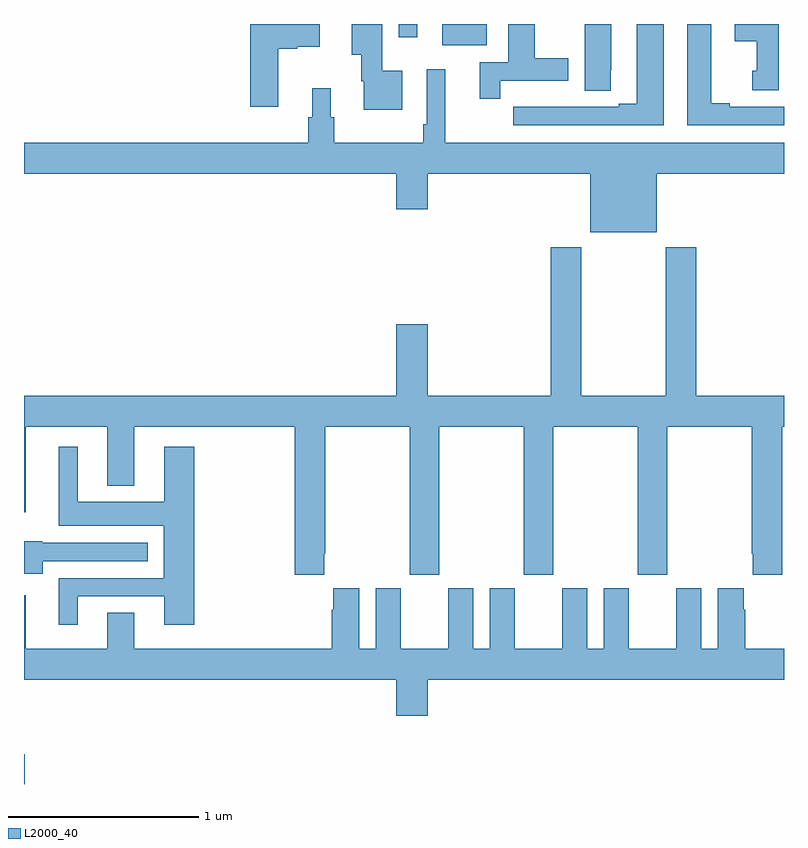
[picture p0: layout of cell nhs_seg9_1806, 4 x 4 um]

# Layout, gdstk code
import gdstk
lib = gdstk.Library(unit=1e-6, precision=1e-09)
def R(c, l, rs):  # rectangles x0, y0, x1, y1
    for r in rs: c.add(gdstk.rectangle(r[:2], r[2:], *l))
def P(c, l, *ps):  # polygons
    for p in ps: c.add(gdstk.Polygon(p, *l))
L2000_40 = (2000, 40)

nhs_seg9_1806 = lib.new_cell('nhs_seg9_1806')
R(nhs_seg9_1806, L2000_40, [(211,1234.5,211.003,1234.656), (213.2,1238.387,213.436,1238.5), (212.973,1238.43,213.07,1238.5)])
P(nhs_seg9_1806, L2000_40, [(215,1238.064),(214.714,1238.064),(214.714,1238.084),(214.618,1238.084),(214.618,1238.5),(214.49,1238.5),(214.49,1237.968),(215,1237.968)],
  [(214.366,1238.5),(214.226,1238.5),(214.226,1238.079),(214.13,1238.079),(214.13,1238.064),(213.854,1238.064),(213.854,1238.065),(213.688,1238.065),(213.688,1238.064),(213.576,1238.064),(213.576,1237.968),(214.366,1237.968)],
  [(213.506,1238.202),(213.865,1238.202),(213.865,1238.319),(213.688,1238.319),(213.688,1238.5),(213.548,1238.5),(213.548,1238.298),(213.398,1238.298),(213.398,1238.106),(213.506,1238.106)],
  [(214.089,1238.257),(214.09,1238.257),(214.09,1238.5),(213.95,1238.5),(213.95,1238.149),(214.089,1238.149)],
  [(214.972,1238.5),(214.742,1238.5),(214.742,1238.408),(214.856,1238.408),(214.856,1238.253),(214.832,1238.253),(214.832,1238.151),(214.972,1238.151)],
  [(212.992,1238.254),(212.886,1238.254),(212.886,1238.5),(212.726,1238.5),(212.726,1238.339),(212.775,1238.339),(212.775,1238.198),(212.787,1238.198),(212.787,1238.048),(212.992,1238.048)],
  [(212.338,1238.369),(212.439,1238.369),(212.439,1238.381),(212.557,1238.381),(212.557,1238.5),(212.192,1238.5),(212.192,1238.064),(212.338,1238.064)],
  [(214.33,1237.712),(215,1237.712),(215,1237.876),(213.218,1237.876),(213.218,1238.263),(213.12,1238.263),(213.12,1237.972),(213.1,1237.972),(213.1,1237.876),(212.633,1237.876),(212.633,1238.01),(212.614,1238.01),(212.614,1238.161),(212.516,1238.161),(212.516,1238.01),(212.497,1238.01),(212.497,1237.876),(211,1237.876),(211,1237.712),(212.96,1237.712),(212.96,1237.524),(213.124,1237.524),(213.124,1237.712),(213.98,1237.712),(213.98,1237.403),(214.33,1237.403)],
  [(212.581,1235.713),(212.586,1235.713),(212.586,1236.38),(213.031,1236.38),(213.031,1235.601),(213.186,1235.601),(213.186,1236.38),(213.631,1236.38),(213.631,1235.601),(213.786,1235.601),(213.786,1236.38),(214.231,1236.38),(214.231,1235.601),(214.386,1235.601),(214.386,1236.38),(214.831,1236.38),(214.831,1235.713),(214.835,1235.713),(214.835,1235.601),(214.991,1235.601),(214.991,1236.38),(215,1236.38),(215,1236.544),(214.538,1236.544),(214.538,1237.324),(214.378,1237.324),(214.378,1236.544),(213.933,1236.544),(213.933,1237.324),(213.773,1237.324),(213.773,1236.544),(213.124,1236.544),(213.124,1236.919),(212.96,1236.919),(212.96,1236.544),(211,1236.544),(211,1235.931),(211.009,1235.931),(211.009,1236.38),(211.439,1236.38),(211.439,1236.071),(211.579,1236.071),(211.579,1236.38),(212.426,1236.38),(212.426,1235.601),(212.581,1235.601)],
  [(211.282,1235.487),(211.739,1235.487),(211.739,1235.337),(211.895,1235.337),(211.895,1236.274),(211.739,1236.274),(211.739,1235.986),(211.282,1235.986),(211.282,1236.274),(211.184,1236.274),(211.184,1235.858),(211.736,1235.858),(211.736,1235.583),(211.184,1235.583),(211.184,1235.337),(211.282,1235.337)],
  [(211.099,1235.673),(211.651,1235.673),(211.651,1235.769),(211.095,1235.769),(211.095,1235.777),(211,1235.777),(211,1235.606),(211.099,1235.606)],
  [(213.124,1235.048),(215,1235.048),(215,1235.212),(214.796,1235.212),(214.796,1235.417),(214.789,1235.417),(214.789,1235.53),(214.652,1235.53),(214.652,1235.212),(214.564,1235.212),(214.564,1235.53),(214.433,1235.53),(214.433,1235.212),(214.183,1235.212),(214.183,1235.53),(214.052,1235.53),(214.052,1235.212),(213.964,1235.212),(213.964,1235.53),(213.833,1235.53),(213.833,1235.212),(213.583,1235.212),(213.583,1235.53),(213.452,1235.53),(213.452,1235.212),(213.364,1235.212),(213.364,1235.53),(213.233,1235.53),(213.233,1235.212),(212.983,1235.212),(212.983,1235.53),(212.852,1235.53),(212.852,1235.212),(212.764,1235.212),(212.764,1235.53),(212.627,1235.53),(212.627,1235.417),(212.621,1235.417),(212.621,1235.212),(211.579,1235.212),(211.579,1235.402),(211.439,1235.402),(211.439,1235.212),(211.009,1235.212),(211.009,1235.494),(211,1235.494),(211,1235.048),(212.96,1235.048),(212.96,1234.86),(213.124,1234.86)])

lib.write_gds('nhs_seg9_1806.gds')
